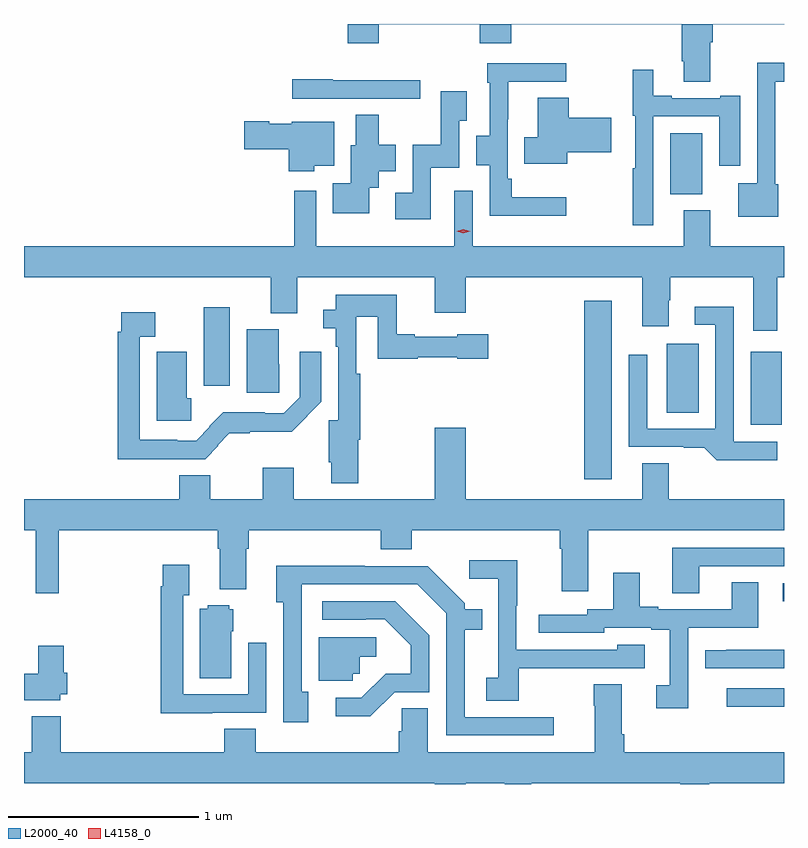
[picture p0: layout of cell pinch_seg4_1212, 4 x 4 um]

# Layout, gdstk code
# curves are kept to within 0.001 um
import gdstk
lib = gdstk.Library(unit=1e-6, precision=1e-09)
def R(c, l, rs):  # rectangles x0, y0, x1, y1
    for r in rs: c.add(gdstk.rectangle(r[:2], r[2:], *l))
def P(c, l, *ps):  # polygons
    for p in ps: c.add(gdstk.Polygon(p, *l))
L2000_40 = (2000, 40)
L4158_0 = (4158, 0)

pinch_seg4_1212 = lib.new_cell('pinch_seg4_1212')
R(pinch_seg4_1212, L2000_40, [(334.377,819.868,334.678,819.966), (334.671,820.422,334.678,820.518), (333.626,821.064,333.772,822.004), (334.502,821.351,334.666,821.737), (334.061,821.416,334.228,821.779), (331.625,821.556,331.762,821.971), (334.079,822.566,334.249,822.886)])
P(pinch_seg4_1212, L2000_40, [(334.291,823.364),(334.304,823.364),(334.304,823.46),(334.678,823.46),(334.678,823.461),(330.678,823.461),(330.678,823.46),(332.381,823.46),(332.381,823.361),(332.546,823.361),(332.546,823.46),(333.077,823.46),(333.077,823.361),(333.242,823.361),(333.242,823.46),(334.139,823.46),(334.139,823.264),(334.151,823.264),(334.151,823.156),(334.291,823.156)],
  [(334.648,822.618),(334.632,822.618),(334.632,823.158),(334.678,823.158),(334.678,823.256),(334.536,823.256),(334.536,822.622),(334.436,822.622),(334.436,822.446),(334.648,822.446)],
  [(333.532,822.55),(333.245,822.55),(333.245,822.646),(333.225,822.646),(333.225,822.961),(333.226,822.961),(333.226,823.158),(333.532,823.158),(333.532,823.254),(333.117,823.254),(333.117,823.151),(333.129,823.151),(333.129,822.873),(333.059,822.873),(333.059,822.718),(333.129,822.718),(333.129,822.452),(333.532,822.452)],
  [(333.99,822.975),(334.337,822.975),(334.337,822.714),(334.447,822.714),(334.447,823.084),(334.343,823.084),(334.343,823.071),(334.087,823.071),(334.087,823.084),(333.991,823.084),(333.991,823.219),(333.882,823.219),(333.882,822.978),(333.894,822.978),(333.894,822.701),(333.882,822.701),(333.882,822.402),(333.99,822.402)],
  [(332.764,823.166),(332.303,823.166),(332.303,823.169),(332.091,823.169),(332.091,823.068),(332.764,823.068)],
  [(332.82,822.704),(332.97,822.704),(332.97,822.952),(333.007,822.952),(333.007,823.108),(332.872,823.108),(332.872,822.826),(332.724,822.826),(332.724,822.574),(332.631,822.574),(332.631,822.434),(332.82,822.434)],
  [(333.538,822.785),(333.769,822.785),(333.769,822.968),(333.546,822.968),(333.546,823.073),(333.383,823.073),(333.383,822.865),(333.31,822.865),(333.31,822.725),(333.538,822.725)],
  [(332.496,822.599),(332.545,822.599),(332.545,822.686),(332.635,822.686),(332.635,822.826),(332.545,822.826),(332.545,822.983),(332.423,822.983),(332.423,822.822),(332.399,822.822),(332.399,822.622),(332.302,822.622),(332.302,822.464),(332.496,822.464)],
  [(332.206,822.716),(332.311,822.716),(332.311,822.946),(332.088,822.946),(332.088,822.937),(331.968,822.937),(331.968,822.95),(331.836,822.95),(331.836,822.803),(332.072,822.803),(332.072,822.686),(332.206,822.686)],
  [(334.643,822.128),(334.678,822.128),(334.678,822.292),(334.291,822.292),(334.291,822.481),(334.151,822.481),(334.151,822.292),(333.039,822.292),(333.039,822.583),(332.943,822.583),(332.943,822.292),(332.217,822.292),(332.217,822.583),(332.101,822.583),(332.101,822.292),(330.678,822.292),(330.678,822.128),(331.976,822.128),(331.976,821.939),(332.116,821.939),(332.116,822.128),(332.84,822.128),(332.84,821.94),(333.004,821.94),(333.004,822.128),(333.932,822.128),(333.932,821.871),(334.072,821.871),(334.072,822.008),(334.08,822.008),(334.08,822.128),(334.517,822.128),(334.517,821.847),(334.643,821.847)],
  [(332.436,821.273),(332.447,821.273),(332.447,821.621),(332.427,821.621),(332.427,821.92),(332.541,821.92),(332.541,821.698),(332.751,821.698),(332.751,821.706),(332.958,821.706),(332.958,821.698),(333.121,821.698),(333.121,821.827),(332.958,821.827),(332.958,821.814),(332.734,821.814),(332.734,821.827),(332.639,821.827),(332.639,822.036),(332.318,822.036),(332.318,821.956),(332.252,821.956),(332.252,821.859),(332.319,821.859),(332.319,821.762),(332.331,821.762),(332.331,821.376),(332.282,821.376),(332.282,821.155),(332.294,821.155),(332.294,821.045),(332.436,821.045)],
  [(334.642,821.262),(334.413,821.262),(334.413,821.974),(334.209,821.974),(334.209,821.877),(334.317,821.877),(334.317,821.331),(333.957,821.331),(333.957,821.719),(333.861,821.719),(333.861,821.235),(334.151,821.235),(334.151,821.23),(334.259,821.23),(334.325,821.165),(334.642,821.165)],
  [(331.701,821.241),(331.697,821.245),(331.759,821.307),(331.867,821.307),(331.867,821.315),(332.087,821.315),(332.242,821.472),(332.242,821.737),(332.13,821.737),(332.13,821.496),(332.046,821.412),(331.946,821.412),(331.946,821.417),(331.727,821.417),(331.653,821.343),(331.656,821.34),(331.584,821.268),(331.484,821.268),(331.484,821.272),(331.287,821.272),(331.287,821.816),(331.37,821.816),(331.37,821.944),(331.191,821.944),(331.191,821.84),(331.171,821.84),(331.171,821.171),(331.631,821.171)],
  [(332.022,821.67),(332.02,821.67),(332.02,821.854),(331.85,821.854),(331.85,821.52),(332.022,821.52)],
  [(331.557,821.49),(331.534,821.49),(331.534,821.735),(331.376,821.735),(331.376,821.373),(331.557,821.373)],
  [(330.86,820.796),(331.697,820.796),(331.697,820.7),(331.709,820.7),(331.709,820.487),(331.849,820.487),(331.849,820.7),(331.862,820.7),(331.862,820.796),(332.555,820.796),(332.555,820.697),(332.72,820.697),(332.72,820.796),(333.497,820.796),(333.497,820.7),(333.509,820.7),(333.509,820.476),(333.649,820.476),(333.649,820.796),(334.678,820.796),(334.678,820.96),(334.072,820.96),(334.072,821.15),(333.932,821.15),(333.932,820.96),(333.004,820.96),(333.004,821.335),(332.84,821.335),(332.84,820.96),(332.098,820.96),(332.098,821.125),(331.934,821.125),(331.934,820.96),(331.657,820.96),(331.657,821.086),(331.496,821.086),(331.496,820.96),(330.678,820.96),(330.678,820.796),(330.739,820.796),(330.739,820.464),(330.86,820.464)],
  [(334.231,820.608),(334.678,820.608),(334.678,820.704),(334.091,820.704),(334.091,820.465),(334.231,820.465)],
  [(333.283,820.069),(333.587,820.069),(333.587,820.071),(333.946,820.071),(333.946,820.195),(333.801,820.195),(333.801,820.167),(333.27,820.167),(333.27,820.4),(333.273,820.4),(333.273,820.639),(333.021,820.639),(333.021,820.541),(333.174,820.541),(333.174,820.02),(333.111,820.02),(333.111,819.898),(333.283,819.898)],
  [(331.669,819.837),(331.953,819.837),(331.953,820.204),(331.857,820.204),(331.857,819.933),(331.515,819.933),(331.515,820.454),(331.549,820.454),(331.549,820.615),(331.407,820.615),(331.407,820.502),(331.399,820.502),(331.399,819.833),(331.669,819.833)],
  [(333.466,819.813),(332.998,819.813),(332.998,820.272),(333.089,820.272),(333.089,820.381),(332.997,820.381),(332.997,820.413),(332.802,820.608),(332.471,820.608),(332.471,820.61),(332.006,820.61),(332.006,820.418),(332.043,820.418),(332.043,819.786),(332.173,819.786),(332.173,819.946),(332.139,819.946),(332.139,820.512),(332.748,820.512),(332.901,820.359),(332.901,819.717),(333.466,819.717)],
  [(334.173,820.284),(334.543,820.284),(334.543,820.523),(334.403,820.523),(334.403,820.38),(334.015,820.38),(334.015,820.393),(333.919,820.393),(333.919,820.573),(333.779,820.573),(333.779,820.38),(333.642,820.38),(333.642,820.353),(333.387,820.353),(333.387,820.257),(333.732,820.257),(333.732,820.284),(333.98,820.284),(333.98,820.272),(334.076,820.272),(334.076,819.981),(334.005,819.981),(334.005,819.861),(334.173,819.861)],
  [(332.628,819.945),(332.811,819.945),(332.811,820.243),(332.632,820.422),(332.247,820.422),(332.247,820.326),(332.477,820.326),(332.477,820.329),(332.577,820.329),(332.714,820.192),(332.714,820.042),(332.581,820.042),(332.454,819.915),(332.319,819.915),(332.319,819.818),(332.5,819.818)],
  [(331.768,820.266),(331.78,820.266),(331.78,820.38),(331.758,820.38),(331.758,820.402),(331.644,820.402),(331.644,820.384),(331.604,820.384),(331.604,820.018),(331.768,820.018)],
  [(332.409,820.041),(332.445,820.041),(332.445,820.13),(332.533,820.13),(332.533,820.233),(332.228,820.233),(332.228,820.005),(332.409,820.005)],
  [(330.87,819.933),(330.905,819.933),(330.905,820.047),(330.887,820.047),(330.887,820.189),(330.752,820.189),(330.752,820.04),(330.678,820.04),(330.678,819.902),(330.87,819.902)],
  [(334.678,820.167),(334.375,820.167),(334.375,820.166),(334.263,820.166),(334.263,820.071),(334.678,820.071)],
  [(333.004,819.464),(333.209,819.464),(333.209,819.461),(333.349,819.461),(333.349,819.464),(334.133,819.464),(334.133,819.461),(334.285,819.461),(334.285,819.464),(334.678,819.464),(334.678,819.628),(333.836,819.628),(333.836,819.724),(333.823,819.724),(333.823,819.985),(333.676,819.985),(333.676,819.872),(333.683,819.872),(333.683,819.628),(332.803,819.628),(332.803,819.86),(332.665,819.86),(332.665,819.738),(332.651,819.738),(332.651,819.628),(331.898,819.628),(331.898,819.752),(331.733,819.752),(331.733,819.628),(330.872,819.628),(330.872,819.817),(330.719,819.817),(330.719,819.628),(330.678,819.628),(330.678,819.464),(332.84,819.464),(332.84,819.461),(333.004,819.461)])
P(pinch_seg4_1212, L4158_0, [(332.991,822.36),(332.956,822.37),(332.956,822.37),(332.956,822.371),(332.991,822.38),(333.026,822.371),(333.026,822.37),(333.026,822.37)])

lib.write_gds('pinch_seg4_1212.gds')
